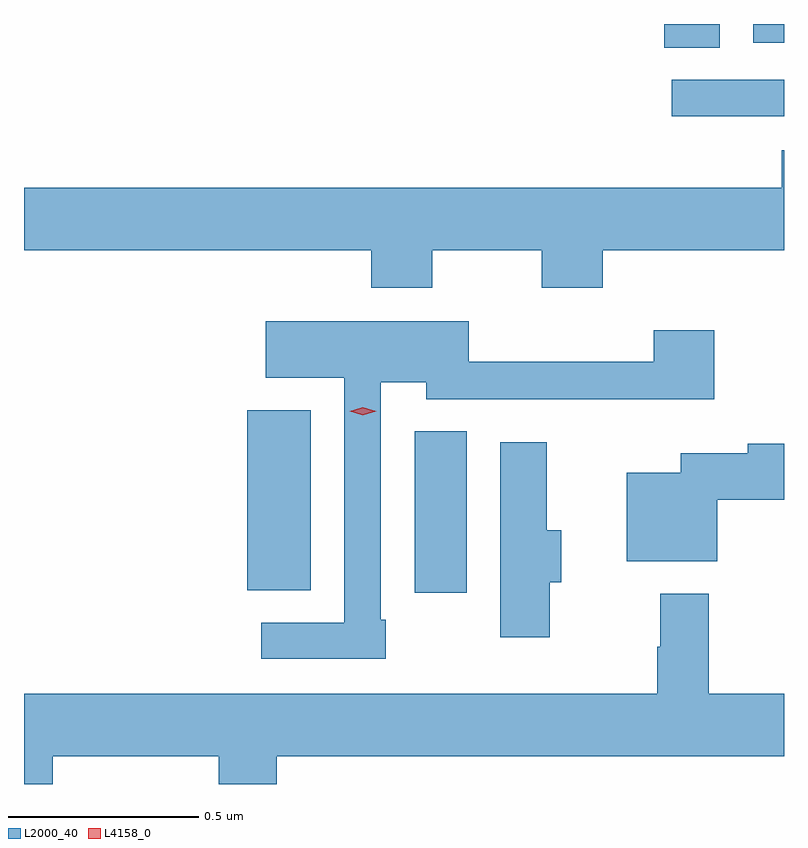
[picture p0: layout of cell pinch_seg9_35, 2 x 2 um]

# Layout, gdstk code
import gdstk
lib = gdstk.Library(unit=1e-6, precision=1e-09)
def R(c, l, rs):  # rectangles x0, y0, x1, y1
    for r in rs: c.add(gdstk.rectangle(r[:2], r[2:], *l))
def P(c, l, *ps):  # polygons
    for p in ps: c.add(gdstk.Polygon(p, *l))
L2000_40 = (2000, 40)
L4158_0 = (4158, 0)

pinch_seg9_35 = lib.new_cell('pinch_seg9_35')
R(pinch_seg9_35, L2000_40, [(913.721,1215.498,913.858,1215.923), (913.28,1215.505,913.447,1215.979), (914.397,1216.752,914.693,1216.848), (914.378,1216.933,914.524,1216.995), (914.612,1216.946,914.693,1216.995)])
P(pinch_seg9_35, L2000_40, [(914.693,1216.663),(914.687,1216.663),(914.687,1216.564),(912.693,1216.564),(912.693,1216.4),(913.607,1216.4),(913.607,1216.301),(913.767,1216.301),(913.767,1216.4),(914.056,1216.4),(914.056,1216.301),(914.216,1216.301),(914.216,1216.4),(914.693,1216.4)],
  [(913.645,1215.427),(913.632,1215.427),(913.632,1216.052),(913.751,1216.052),(913.751,1216.008),(914.261,1216.008),(914.261,1216.007),(914.51,1216.007),(914.51,1216.189),(914.35,1216.189),(914.35,1216.106),(913.864,1216.106),(913.864,1216.213),(913.329,1216.213),(913.329,1216.064),(913.536,1216.064),(913.536,1215.42),(913.317,1215.42),(913.317,1215.324),(913.645,1215.324)],
  [(914.076,1215.526),(914.107,1215.526),(914.107,1215.663),(914.068,1215.663),(914.068,1215.895),(913.946,1215.895),(913.946,1215.381),(914.076,1215.381)],
  [(914.517,1215.743),(914.693,1215.743),(914.693,1215.89),(914.598,1215.89),(914.598,1215.865),(914.421,1215.865),(914.421,1215.814),(914.279,1215.814),(914.279,1215.581),(914.517,1215.581)],
  [(912.769,1215.068),(913.205,1215.068),(913.205,1214.995),(913.358,1214.995),(913.358,1215.068),(914.693,1215.068),(914.693,1215.232),(914.495,1215.232),(914.495,1215.496),(914.367,1215.496),(914.367,1215.356),(914.359,1215.356),(914.359,1215.232),(912.693,1215.232),(912.693,1214.995),(912.769,1214.995)])
P(pinch_seg9_35, L4158_0, [(913.585,1215.966),(913.55,1215.976),(913.55,1215.976),(913.55,1215.976),(913.585,1215.986),(913.62,1215.976),(913.62,1215.976),(913.62,1215.976)])

lib.write_gds('pinch_seg9_35.gds')
